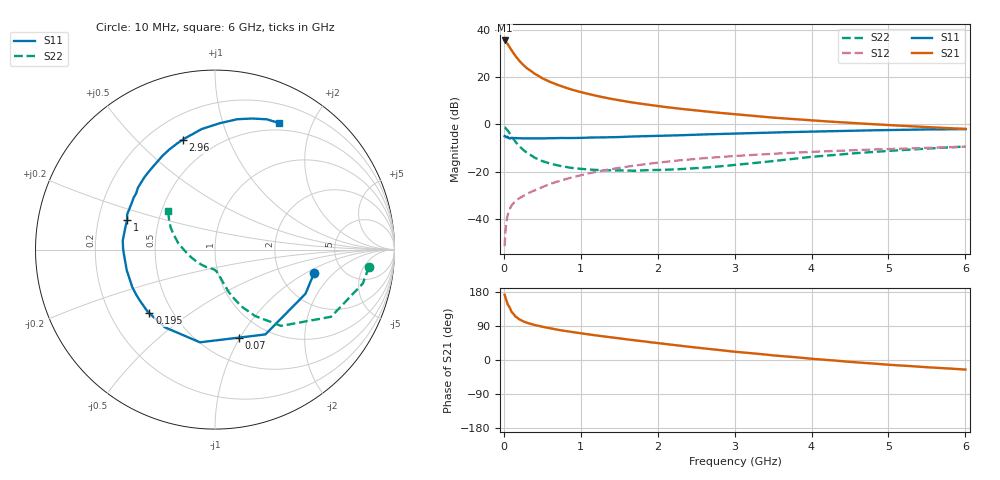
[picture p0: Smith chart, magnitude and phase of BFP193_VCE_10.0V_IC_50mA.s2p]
! Infineon Technologies  Discrete & RF Semiconductors
! BFP193
! VCE = 10.0V,  IC =  50 mA
! Common Emitter S-Parameters:  Jan 2016
# GHz  S  MA  R  50
!  f  S11  S21  S12  S22
! GHz  MAG  ANG  MAG  ANG  MAG  ANG  MAG  ANG
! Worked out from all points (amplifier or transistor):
!   210 points, 10 MHz to 6 GHz, reference 50 ohm
!   highest |S21| = 35.4 dB at 10 MHz (marker M1)
!   |S21| within 3 dB of that: start of sweep to 77.64 MHz
!   unconditionally stable (mu >= 1): 635.3 MHz to 4.272 GHz
!   at 185 MHz: K = 0.63, MSG = 29.5 dB, |S12| = -31.5 dB
!   at 1.52 GHz: K = 1.07, MAG = 12.5 dB, |S12| = -18.2 dB
!   at 6 GHz: K = 0.94, MSG = 3.8 dB, |S12| = -9.4 dB
!   S11 on the Smith chart (normalised r, x): 10 MHz: 3.12, -1.19; 70 MHz: 0.75, -0.99; 195 MHz: 0.37, -0.36; 1 GHz: 0.33, +0.15; 2.96 GHz: 0.34, +0.69; 6 GHz: 0.41, +1.55
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0.01  0.5673 -13.2  58.76 172.4  0.0027 65.7  0.8632 -6.4
0.02  0.5611 -26.0  56.38 164.4  0.0054 73.3  0.8452 -12.9
0.05  0.5497 -59.3  49.21 146.9  0.0124 64.8  0.747 -30.1
0.07  0.5084 -74.6  43.57 140.3  0.0152 60.3  0.6649 -36.4
0.1  0.5232 -99.2  36.58 127.0  0.0195 56.0  0.5622 -49.1
0.15  0.5154 -122.8  27.68 114.8  0.0241 53.6  0.4305 -59.0
0.195  0.5092 -135.9  22.55 108.3  0.0272 53.3  0.3566 -64.4
0.24  0.5059 -145.9  18.8 103.2  0.0299 54.0  0.3008 -68.1
0.3  0.5062 -155.5  15.27 97.9  0.0342 56.2  0.252 -71.8
0.4  0.505 -166.7  11.69 92.3  0.0406 58.3  0.1988 -75.4
0.5  0.5059 -174.1  9.384 87.6  0.0474 60.1  0.168 -78.0
0.6  0.5119 179.7  7.867 83.5  0.0553 61.1  0.1494 -80.4
0.7  0.5166 174.3  6.788 79.7  0.0624 61.9  0.1362 -82.8
1  0.517 161.4  4.782 70.5  0.0846 60.9  0.1151 -89.2
1.02  0.5189 160.7  4.698 70.0  0.0862 60.8  0.1144 -89.8
1.4  0.538 147.3  3.434 59.7  0.1141 57.5  0.1074 -100.6
2.02  0.5715 129.4  2.41 44.3  0.157 50.4  0.1091 -123.1
2.96  0.6378 106.4  1.652 22.8  0.2131 38.6  0.1371 -160.4
3.1  0.6464 103.6  1.577 20.1  0.2202 36.8  0.1439 -165.3
4.1  0.7106 86.2  1.183 1.8  0.2673 25.2  0.2131 168.3
5.1  0.7627 73.0  0.947 -13.7  0.3054 14.4  0.2823 151.9
6  0.7905 63.2  0.803 -25.2  0.3379 5.1  0.3403 140.2
